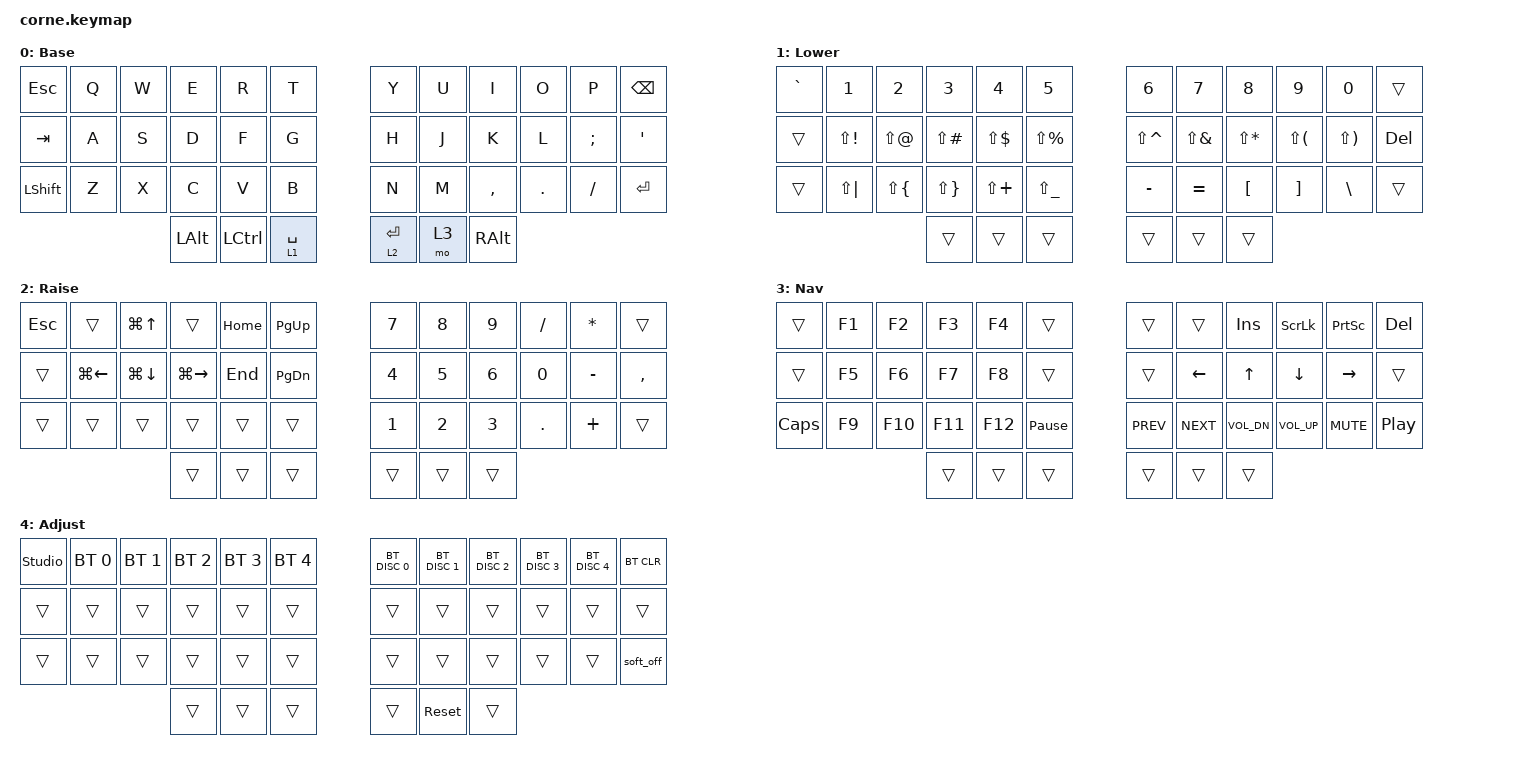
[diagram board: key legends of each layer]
/*
 * Copyright (c) 2020 The ZMK Contributors
 *
 * SPDX-License-Identifier: MIT
 */

#include <behaviors.dtsi>
#include <dt-bindings/zmk/keys.h>
#include <dt-bindings/zmk/bt.h>

#include <behaviors.dtsi>
#include <dt-bindings/zmk/bt.h>
#include <dt-bindings/zmk/keys.h>

/ {
    keymap {
        compatible = "zmk,keymap";

        default_layer {
            // -----------------------------------------------------------------------------------------
            // |  TAB |  Q  |  W  |  E  |  R  |  T  |   |  Y  |  U   |  I  |  O  |  P  | BKSP |
            // | CTRL |  A  |  S  |  D  |  F  |  G  |   |  H  |  J   |  K  |  L  |  ;  |  '   |
            // | SHFT |  Z  |  X  |  C  |  V  |  B  |   |  N  |  M   |  ,  |  .  |  /  | ESC  |
            //                    | GUI | LWR | SPC |   | ENT | RSE  | ALT |

            display-name = "Base";
            bindings = <
&kp ESC    &kp Q  &kp W  &kp E         &kp R      &kp T          &kp Y        &kp U  &kp I      &kp O    &kp P     &kp BSPC
&kp TAB    &kp A  &kp S  &kp D         &kp F      &kp G          &kp H        &kp J  &kp K      &kp L    &kp SEMI  &kp SQT
&kp LSHFT  &kp Z  &kp X  &kp C         &kp V      &kp B          &kp N        &kp M  &kp COMMA  &kp DOT  &kp FSLH  &kp ENTER
                         &kp LEFT_ALT  &kp LCTRL  &lt 1 SPACE    &lt 2 ENTER  &mo 3  &kp RALT
            >;
        };

        lower_layer {
            // -----------------------------------------------------------------------------------------
            // |  TAB |  1  |  2  |  3  |  4  |  5  |   |  6  |  7  |  8  |  9  |  0  | BKSP |
            // | BTCLR| BT1 | BT2 | BT3 | BT4 | BT5 |   | LFT | DWN |  UP | RGT |     |      |
            // | SHFT |     |     |     |     |     |   |     |     |     |     |     |      |
            //                    | GUI |     | SPC |   | ENT |     | ALT |

            display-name = "Lower";
            bindings = <
&kp GRAVE  &kp N1        &kp N2        &kp N3         &kp N4        &kp N5           &kp N6         &kp N7        &kp N8        &kp N9        &kp N0        &trans
&trans     &kp LS(EXCL)  &kp LS(AT)    &kp LS(POUND)  &kp LS(DLLR)  &kp LS(PRCNT)    &kp LS(CARET)  &kp LS(AMPS)  &kp LS(STAR)  &kp LS(LPAR)  &kp LS(RPAR)  &kp DEL
&trans     &kp LS(PIPE)  &kp LS(LBRC)  &kp LS(RBRC)   &kp LS(PLUS)  &kp LS(UNDER)    &kp MINUS      &kp EQUAL     &kp LBKT      &kp RBKT      &kp BSLH      &trans
                                       &trans         &trans        &trans           &trans         &trans        &trans
            >;
        };

        raise_layer {
            bindings = <
&kp ESC  &trans        &kp LG(UP)    &trans         &kp HOME  &kp PG_UP    &kp N7  &kp N8  &kp N9  &kp FSLH  &kp STAR   &trans
&trans   &kp LG(LEFT)  &kp LG(DOWN)  &kp LG(RIGHT)  &kp END   &kp PG_DN    &kp N4  &kp N5  &kp N6  &kp N0    &kp MINUS  &kp COMMA
&trans   &trans        &trans        &trans         &trans    &trans       &kp N1  &kp N2  &kp N3  &kp DOT   &kp PLUS   &trans
                                     &trans         &trans    &trans       &trans  &trans  &trans
            >;

            label = "Raise";
        };

        nav_layer {
            bindings = <
&trans    &kp F1  &kp F2   &kp F3   &kp F4   &trans             &trans      &trans      &kp INS       &kp SCROLLLOCK  &kp PRINTSCREEN  &kp DEL
&trans    &kp F5  &kp F6   &kp F7   &kp F8   &trans             &trans      &kp LEFT    &kp UP        &kp DOWN        &kp RIGHT        &trans
&kp CAPS  &kp F9  &kp F10  &kp F11  &kp F12  &kp PAUSE_BREAK    &kp C_PREV  &kp C_NEXT  &kp C_VOL_DN  &kp C_VOL_UP    &kp C_MUTE       &kp C_PP
                           &trans   &trans   &trans             &trans      &trans      &trans
            >;

            label = "Nav";
        };

        adjust_layer {
            bindings = <
&studio_unlock  &bt BT_SEL 0  &bt BT_SEL 1  &bt BT_SEL 2  &bt BT_SEL 3  &bt BT_SEL 4    &bt BT_DISC 0  &bt BT_DISC 1  &bt BT_DISC 2  &bt BT_DISC 3  &bt BT_DISC 4  &bt BT_CLR
&trans          &trans        &trans        &trans        &trans        &trans          &trans         &trans         &trans         &trans         &trans         &trans
&trans          &trans        &trans        &trans        &trans        &trans          &trans         &trans         &trans         &trans         &trans         &soft_off
                                            &trans        &trans        &trans          &trans         &sys_reset     &trans
            >;

            label = "Adjust";
        };
    };

    conditional_layers {
        compatible = "zmk,conditional-layers";

        tri_layer {
            if-layers = <1 2>;
            then-layer = <4>;
        };
    };
};
